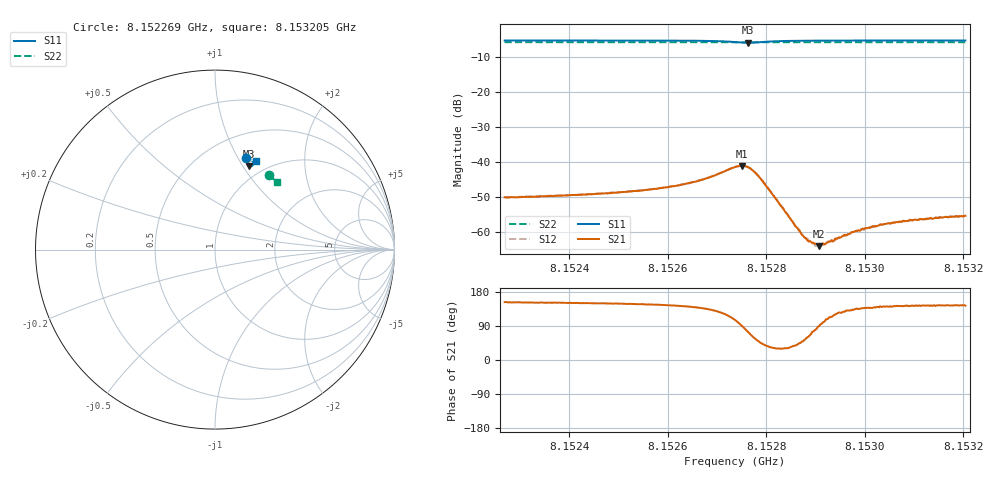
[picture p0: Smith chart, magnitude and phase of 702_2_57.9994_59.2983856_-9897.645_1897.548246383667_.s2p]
#  HZ  S  RI  R  50.00
! Rohde & Schwarz Vector Network Analyzer
! Rohde-Schwarz,ZNB20-2Port,1311601062101988,3.16
! Created: UTC 3/21/2024, 1:21:49 AM
! freq[Hz]  re:S11  im:S11  re:S21  im:S21  re:S12  im:S12  re:S22  im:S22
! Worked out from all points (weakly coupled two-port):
!   401 points, 8.152269 GHz to 8.153205 GHz, reference 50 ohm
!   highest |S21| = -41.18 dB at 8.152751 GHz (marker M1); lowest = -64.1 dB at 8.152908 GHz (marker M2)
!   lowest |S11| = -6.0 dB at 8.152763 GHz (marker M3), VSWR 3.01, Z = 42.9 + j53.2 ohm
!   |S11| at or under -10 dB: nowhere
!   |S22| runs from -5.9 to -5.8 dB; largest |S21 - S12| = 0.00016
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8.1522692e9  0.174 0.5115  -0.00275 0.00143  -0.00273 0.00147  0.2991 0.4149
8.1524259e9  0.1859 0.5074  -0.00292 0.00167  -0.00293 0.00171  0.3071 0.4087
8.1525077e9  0.1924 0.5047  -0.00313 0.00193  -0.00312 0.00197  0.3112 0.4055
8.1525826e9  0.1992 0.5015  -0.00343 0.00237  -0.00342 0.00239  0.315 0.4024
8.15262e9  0.203 0.4989  -0.00364 0.00275  -0.00363 0.00279  0.3168 0.4009
8.1526668e9  0.209 0.4935  -0.00399 0.00368  -0.00396 0.00375  0.3192 0.3988
8.1527369e9  0.2093 0.4688  -0.00226 0.00808  -0.00221 0.00816  0.3222 0.3951
8.152751e9  0.2 0.463  -2.6e-05 0.00873  -1.35e-05 0.00881  0.3223 0.3945
8.1527627e9  0.1892 0.4637  0.00217 0.00811  0.00223 0.00816  0.3224 0.3943
8.1527767e9  0.18 0.472  0.00381 0.006  0.00393 0.00603  0.323 0.3941
8.1527907e9  0.1782 0.4823  0.00395 0.00381  0.00405 0.00384  0.3237 0.394
8.1528749e9  0.1969 0.4989  0.000575 0.000663  0.000558 0.000695  0.3284 0.3909
8.1528819e9  0.1981 0.4989  0.00041 0.000662  0.000452 0.000666  0.3288 0.3907
8.1528936e9  0.1999 0.499  0.000185 0.000665  0.000255 0.000646  0.3295 0.39
8.1529006e9  0.2009 0.4989  0.000114 0.000661  0.000118 0.000609  0.3298 0.3897
8.1529077e9  0.202 0.4989  8.44e-06 0.00062  -5.19e-06 0.000651  0.3302 0.3894
8.152917e9  0.2031 0.4987  -0.000121 0.000664  -9.61e-05 0.000638  0.3305 0.3891
8.1529287e9  0.2045 0.4985  -0.000279 0.00066  -0.000279 0.000678  0.3312 0.3886
8.1529895e9  0.2109 0.4971  -0.000726 0.000727  -0.00074 0.000742  0.3342 0.3861
8.1530503e9  0.2161 0.4954  -0.00102 0.000829  -0.00101 0.000853  0.337 0.3833
8.1531392e9  0.2231 0.493  -0.00124 0.000899  -0.00127 0.000946  0.3413 0.3796
8.1532047e9  0.2278 0.4911  -0.00136 0.001  -0.00135 0.00102  0.3444 0.3765
